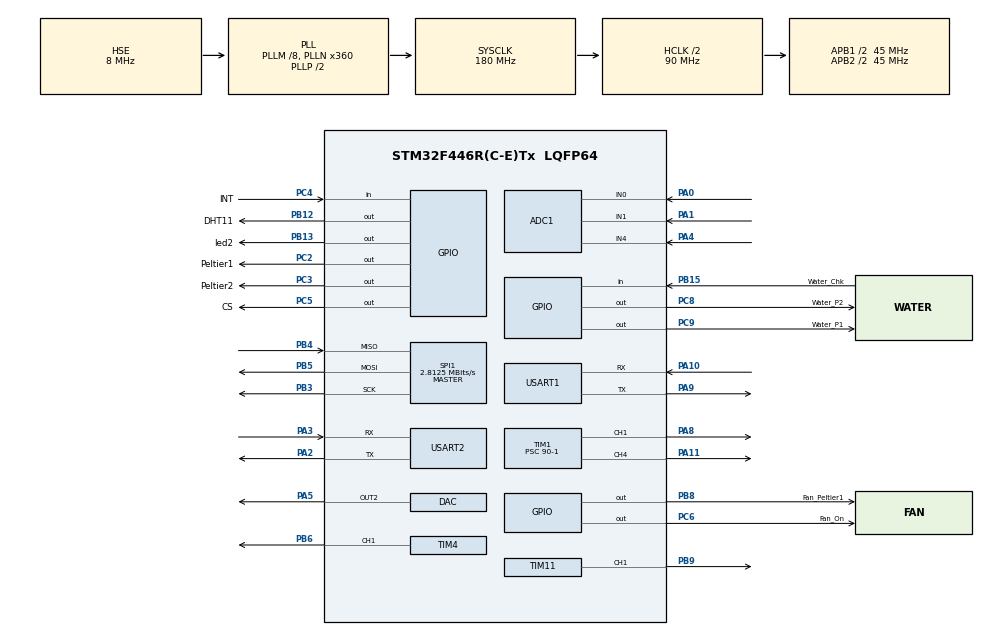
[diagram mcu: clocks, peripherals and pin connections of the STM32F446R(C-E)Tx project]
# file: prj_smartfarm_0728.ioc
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ADC1.Channel-10\#ChannelRegularConversion=ADC_CHANNEL_0
ADC1.ContinuousConvMode=DISABLE
ADC1.NbrOfConversion=1
ADC1.NbrOfConversionFlag=1
ADC1.Rank-10\#ChannelRegularConversion=1
ADC1.SamplingTime-10\#ChannelRegularConversion=ADC_SAMPLETIME_3CYCLES
ADC1.master=1
Mcu.Family=STM32F4
Mcu.Name=STM32F446R(C-E)Tx
Mcu.Package=LQFP64
NVIC.PriorityGroup=NVIC_PRIORITYGROUP_4
NVIC.TIM2_IRQn=true\:0\:0\:false\:true\:true\:1\:true\:true\:true
NVIC.TIM3_IRQn=true\:0\:0\:false\:false\:true\:true\:true\:true
NVIC.TIM5_IRQn=true\:0\:0\:false\:false\:true\:true\:true\:true
NVIC.TIM8_TRG_COM_TIM14_IRQn=true\:15\:0\:false\:false\:true\:false\:true\:true
NVIC.TimeBase=TIM8_TRG_COM_TIM14_IRQn
NVIC.TimeBaseIP=TIM14
PA0-WKUP.Signal=ADCx_IN0
PA1.Signal=ADCx_IN1
PA10.Mode=Asynchronous
PA10.Signal=USART1_RX
PA11.GPIO_Speed=GPIO_SPEED_FREQ_HIGH
PA11.Signal=S_TIM1_CH4
PA13.Mode=Serial_Wire
PA13.Signal=SYS_JTMS-SWDIO
PA14.Mode=Serial_Wire
PA14.Signal=SYS_JTCK-SWCLK
PA2.Mode=Asynchronous
PA2.Signal=USART2_TX
PA3.Mode=Asynchronous
PA3.Signal=USART2_RX
PA4.Signal=ADCx_IN4
PA5.Signal=COMP_DAC2_group
PA8.GPIO_Speed=GPIO_SPEED_FREQ_HIGH
PA8.Signal=S_TIM1_CH1
PA9.Mode=Asynchronous
PA9.Signal=USART1_TX
PB12.GPIO_Label=DHT11
PB12.GPIO_Speed=GPIO_SPEED_FREQ_VERY_HIGH
PB12.Signal=GPIO_Output
PB13.GPIO_Label=led2
PB13.GPIO_ModeDefaultOutputPP=GPIO_MODE_OUTPUT_PP
PB13.GPIO_PuPd=GPIO_NOPULL
PB13.GPIO_Speed=GPIO_SPEED_FREQ_MEDIUM
PB13.PinState=GPIO_PIN_RESET
PB13.Signal=GPIO_Output
PB15.GPIO_Label=Water_Chk
PB15.Signal=GPIO_Input
PB3.Mode=Full_Duplex_Master
PB3.Signal=SPI1_SCK
PB4.Mode=Full_Duplex_Master
PB4.Signal=SPI1_MISO
PB5.Mode=Full_Duplex_Master
PB5.Signal=SPI1_MOSI
PB6.Signal=S_TIM4_CH1
PB8.GPIO_Label=Fan_Peltier1
PB8.Signal=GPIO_Output
PB9.Signal=S_TIM11_CH1
PC14-OSC32_IN.Mode=LSE-External-Oscillator
PC14-OSC32_IN.Signal=RCC_OSC32_IN
PC15-OSC32_OUT.Mode=LSE-External-Oscillator
PC15-OSC32_OUT.Signal=RCC_OSC32_OUT
PC2.GPIO_Label=Peltier1
PC2.Signal=GPIO_Output
PC3.GPIO_Label=Peltier2
PC3.Signal=GPIO_Output
PC4.GPIO_Label=INT
PC4.Signal=GPIO_Input
PC5.GPIO_Label=CS
PC5.Signal=GPIO_Output
PC6.GPIO_Label=Fan_On
PC6.Signal=GPIO_Output
PC8.GPIO_Label=Water_P2
PC8.GPIO_Speed=GPIO_SPEED_FREQ_HIGH
PC8.Signal=GPIO_Output
PC9.GPIO_Label=Water_P1
PC9.GPIO_Speed=GPIO_SPEED_FREQ_HIGH
PC9.Signal=GPIO_Output
PH0-OSC_IN.Mode=HSE-External-Oscillator
PH0-OSC_IN.Signal=RCC_OSC_IN
PH1-OSC_OUT.Mode=HSE-External-Oscillator
PH1-OSC_OUT.Signal=RCC_OSC_OUT
ProjectManager.HeapSize=0x200
ProjectManager.StackSize=0x400
ProjectManager.TargetToolchain=STM32CubeIDE
RCC.AHBCLKDivider=RCC_SYSCLK_DIV2
RCC.AHBFreq_Value=90000000
RCC.APB1CLKDivider=RCC_HCLK_DIV2
RCC.APB1Freq_Value=45000000
RCC.APB1TimFreq_Value=90000000
RCC.APB2CLKDivider=RCC_HCLK_DIV2
RCC.APB2Freq_Value=45000000
RCC.APB2TimFreq_Value=90000000
RCC.CortexFreq_Value=90000000
RCC.HCLKFreq_Value=90000000
RCC.HSE_VALUE=8000000
RCC.PLLM=8
RCC.PLLN=360
RCC.PLLSourceVirtual=RCC_PLLSOURCE_HSE
RCC.SYSCLKFreq_VALUE=180000000
RCC.SYSCLKSource=RCC_SYSCLKSOURCE_PLLCLK
RCC.USBFreq_Value=180000000
RCC.VCOOutputFreq_Value=360000000
SH.ADCx_IN0.0=ADC1_IN0,IN0
SH.ADCx_IN1.0=ADC1_IN1,IN1
SH.ADCx_IN4.0=ADC1_IN4,IN4
SH.COMP_DAC2_group.0=DAC_OUT2,DAC_OUT2
SH.S_TIM11_CH1.0=TIM11_CH1,PWM Generation1 CH1
SH.S_TIM1_CH1.0=TIM1_CH1,PWM Generation1 CH1
SH.S_TIM1_CH4.0=TIM1_CH4,PWM Generation4 CH4
SH.S_TIM4_CH1.0=TIM4_CH1,PWM Generation1 CH1
SPI1.BaudRatePrescaler=SPI_BAUDRATEPRESCALER_16
SPI1.CalculateBaudRate=2.8125 MBits/s
SPI1.Direction=SPI_DIRECTION_2LINES
SPI1.Mode=SPI_MODE_MASTER
SPI1.VirtualType=VM_MASTER
TIM1.Channel-PWM\ Generation1\ CH1=TIM_CHANNEL_1
TIM1.Channel-PWM\ Generation4\ CH4=TIM_CHANNEL_4
TIM1.Period=60000-1
TIM1.Prescaler=90-1
TIM11.Channel=TIM_CHANNEL_1
TIM11.Period=4096-1
TIM11.Prescaler=9-1
TIM2.AutoReloadPreload=TIM_AUTORELOAD_PRELOAD_ENABLE
TIM2.Period=1000-1
TIM2.Prescaler=9000-1
TIM3.Period=60000-1
TIM3.Prescaler=45000-1
TIM4.Channel-PWM\ Generation1\ CH1=TIM_CHANNEL_1
TIM4.Period=4000-1
TIM4.Prescaler=90-1
TIM5.Period=1000-1
TIM5.Prescaler=9000-1
TIM6.Period=65535-1
TIM6.Prescaler=90-1
USART1.VirtualMode=VM_ASYNC
USART2.VirtualMode=VM_ASYNC
VP_SYS_VS_tim14.Mode=TIM14
VP_TIM11_VS_ClockSourceINT.Mode=Enable_Timer
VP_TIM1_VS_ClockSourceINT.Mode=Internal
VP_TIM2_VS_ClockSourceINT.Mode=Internal
VP_TIM3_VS_ClockSourceINT.Mode=Internal
VP_TIM4_VS_ClockSourceINT.Mode=Internal
VP_TIM5_VS_ClockSourceINT.Mode=Internal
VP_TIM6_VS_ClockSourceINT.Mode=Enable_Timer
board=custom

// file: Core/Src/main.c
/* USER CODE BEGIN Header */
/**
  ******************************************************************************
  * @file           : main.c
  * @brief          : Main program body
  ******************************************************************************
  * @attention
  *
  * Copyright (c) 2025 STMicroelectronics.
  * All rights reserved.
  *
  * This software is licensed under terms that can be found in the LICENSE file
  * in the root directory of this software component.
  * If no LICENSE file comes with this software, it is provided AS-IS.
  *
  ******************************************************************************
  */
/* USER CODE END Header */
#include "main.h"
#include "adc.h"
#include "dac.h"
#include "spi.h"
#include "tim.h"
#include "usart.h"
#include "gpio.h"

/* USER CODE BEGIN Includes */
#include <stdio.h>
#include <stdlib.h>
#include <string.h>

#include "MCP2515.h"
#include "CANSPI.h"

#define printf_en 1
#define USART_Ch_1_EN	3
#define Console_Ch2   2
#define dht11_en 3
#define Ch1	1
#define cds_en	2
#define co2_en	3
#define w_height_en	4
#define servo_en 5
#define water_pump_en 	6
#define fan_en 6
#define light_en 6
#define pelt_en 6
#include "my_library.h"

#define Out_Bit(port, pin, out_data_bits) HAL_GPIO_WritePin(port, pin, out_data_bits)
#define MAX_VALUES 4
#define MAX_STR_LEN 20

float temp=0.0;
float humi=0.0;
int16_t temp_x10=0;
int16_t humi_x10=0;

/* USER CODE END Includes */

/* USER CODE BEGIN PTD */
char Test_Msg[16];
char pass_sig[] = "Pass\r\n";
char msg_to_Rpi[30];
char Cmd_Msg[80];
extern int Cmd_values[4];
char message[16];
uCAN_MSG rxMessage;
uint8_t Sensor_flag = 0;
uint8_t act_flag =0;

struct flags{
	uint8_t water_sensor_flag;
	uint8_t timer1;
	uint8_t timer2;
}FLAGS = {0,0,0};
struct flags *flag = &FLAGS;

struct Sensor_Value{
	  float TEMP;		// 온도
	  float RH;			// 습도
	  float lux ;				// 밝기
	  float co2 ;				// c02 ppm
	  float w_1;		// 둘 중 하나
}sen_val = {0.0, 0.0, 0.0, 0.0, 0.0};
struct Sensor_Value *sen_v = &sen_val;

uint8_t water_sensor_flag= 0;
uint16_t cnt = 0;
extern ADC_HandleTypeDef hadc1;
int timer1 = 0 , timer2 = 0;
uint16_t adc_value = 0;
void HAL_TIM_MspPostInit(TIM_HandleTypeDef *htim);

void can_mcp2515_init(void)
{
    if(!MCP2515_Initialize()) {
        printf("MCP2515 SPI initialize error!\r\n");
        Error_Handler();
    }
    if(!MCP2515_SetConfigMode()) {

        printf("Config error!\r\n");
        Error_Handler();
    }
    // 💡 비트레이트 설정 필요
    // 예: MCP2515_SetBitrate(500000);  // 드라이버에 따라 함수명 다를 수 있음

    if(!MCP2515_SetNormalMode()) {
        printf("Normal set fail!\r\n");
        Error_Handler();
    }
    printf("MCP2515 success\r\n");
}

/* USER CODE END PTD */

void SystemClock_Config(void);
static void MX_NVIC_Init(void);

int main(void)
{

  /* MCU Configuration--------------------------------------------------------*/

  /* Reset of all peripherals, Initializes the Flash interface and the Systick. */
  HAL_Init();

  /* Configure the system clock */
  SystemClock_Config();

  /* Initialize all configured peripherals */
  MX_GPIO_Init();
  MX_TIM6_Init();
  MX_USART1_UART_Init();
  MX_USART2_UART_Init();
  MX_ADC1_Init();
  MX_TIM1_Init();
  MX_TIM2_Init();
  MX_TIM3_Init();
  MX_TIM4_Init();
  MX_TIM5_Init();
  MX_DAC_Init();
  MX_TIM11_Init();
  MX_SPI1_Init();

  /* Initialize interrupts */
  MX_NVIC_Init();
  /* USER CODE BEGIN 2 */
  HAL_TIM_Base_Start(&htim6);
  HAL_TIM_Base_Start(&htim1);
  HAL_ADC_Start(&hadc1);
  HAL_ADC_PollForConversion(&hadc1, HAL_MAX_DELAY);
  //HAL_TIM_PWM_Start(&htim1, TIM_CHANNEL_3);

  HAL_TIM_Base_Start_IT(&htim2);
  HAL_TIM_Base_Start_IT(&htim3);
  HAL_TIM_Base_Start_IT(&htim5);

  HAL_TIM_PWM_Start(&htim4, TIM_CHANNEL_1);
  HAL_TIM_PWM_Start(&htim11, TIM_CHANNEL_1);
  fan_off();
  Water_P1_Stop();
  Water_P2_Stop();
  //can_mcp2515_init();
  //CANSPI_Initialize();

  /* USER CODE END 2 */

  /* Infinite loop */
  /* USER CODE BEGIN WHILE */
  while (1)
  {

	  //센서 받을 준비 되었냐
	  if( Sensor_flag == 0)
	  {

		  printf("Waiting Rpi Test Mode Msg\r\n");
		  // 데이터 받았냐
//		  if(CANSPI_Receive(&rxMessage)) {
//
//		 				temp_x10 = (rxMessage.frame.data0 << 8) | rxMessage.frame.data1;
//		 				humi_x10 = (rxMessage.frame.data2 << 8) | rxMessage.frame.data3;
//		 				temp = temp_x10 / 10.0;
//		 				humi = humi_x10 / 10.0;
//
//		 				printf("ID=0x%03X, 온도=%.1f, 습도=%.1f \r\n", rxMessage.frame.id, temp, humi);
//		 			}
		  if(HAL_UART_Receive(&huart1, (uint8_t *)Test_Msg, 16, 1000)== HAL_OK)
		  {

			  printf("pass1\r\n");
			  Test_Msg[15] = '\0'; // 강제로 문자열 종료
			  printf("Received data = %s\r\n", Test_Msg);

//			  if(CANSPI_Receive(&rxMessage)) {
//
//				temp_x10 = (rxMessage.frame.data0 << 8) | rxMessage.frame.data1;
//				humi_x10 = (rxMessage.frame.data2 << 8) | rxMessage.frame.data3;
//				temp = temp_x10 / 10.0;
//				humi = humi_x10 / 10.0;
//
//				//printf("ID=0x%03X, 온도=%.1f, 습도=%.1f \r\n", rxMessage.frame.id, t, h);
//			}

			  float TEMP1 = DHT11_Run_TEMP();		// 온도
			  float RH1 = DHT11_Run_RH();			// 습도
			  float lux1 = read_light();
			  printf("TEMP : %.1f RH : %.1f lux : %.1f\r\n", TEMP1, RH1, lux1);
			  //받은 데이터가 이거냐?
			  if (strcmp(Test_Msg, "\nSTM32 Test Mod") == 0)
			  {
				  printf("pass2\r\n");
				  if(DHT11_Sensor_Test()&&check_light())
				  {
					  Sensor_flag = 1;
					  printf("Sensor Check Complete\r\n");
					  HAL_UART_Transmit(&huart1, (uint8_t*)pass_sig, strlen(pass_sig), 10);

				  }
			  }
		  }
	  }
	  else
	  {
		  //물 순환 시작
		  //인터럽트로 1분마다 읽게 만들거
		  float TEMP = DHT11_Run_TEMP();		// 온도
		  float RH = DHT11_Run_RH();			// 습도
//		  if(CANSPI_Receive(&rxMessage)) {
//
//			temp_x10 = (rxMessage.frame.data0 << 8) | rxMessage.frame.data1;
//			humi_x10 = (rxMessage.frame.data2 << 8) | rxMessage.frame.data3;
//			temp = temp_x10 / 10.0;
//			humi = humi_x10 / 10.0;
//
//			printf("ID=0x%03X, 온도=%.1f, 습도=%.1f \r\n", rxMessage.frame.id, temp, humi);
//		}
		  float lux = read_light_lux();				// 전압값(0~4096)
		  float co2 = read_co2();				// c02 ppm
	  	  float w_1 = isWaterDetected1();		// 둘 중 하나 -> 타이머 인터럽트
	  	  act_flag = 0;

		  printf("TEMP : %.1f RH : %.1f co2 : %.1f lux : %.1f water : %.1f\r\n", TEMP, RH, co2, lux,w_1);
		  cnt++;

		  if(TEMP && cnt == 3){
			  // co2,w_height level 반환 대신 그냥 adc값 반환하도록 변경해야됨
			  // 둘 중 하나 사용
			  cnt = 0;
			  sprintf(msg_to_Rpi, "%.1f,%.1f,%.1f,%.1f,%.1f\r\n", TEMP, RH, co2, lux, w_1);
			  printf("%s", msg_to_Rpi);
			  HAL_UART_Transmit(&huart1, (char*)msg_to_Rpi, strlen(msg_to_Rpi), 100);
			  HAL_Delay(10);

		  }
		  	  // 제어 신호 받으면?????
		  if(HAL_UART_Receive(&huart1, (uint8_t *)Cmd_Msg, 8, 1000)== HAL_OK)
		  {
			  //제어 명령어 -  팬+팰티어, led. 팬, 모터 센서(급수)
			  printf("Received data\r\n");
			  Cmd_Msg[8] = '\0';
			  printf("Cmd_Msg = %s",Cmd_Msg); // 강제로 문자열 종료
			  parse_fixed_csv(Cmd_Msg);
			  for (int i = 0; i < 4; i++)
			  {
				  printf("Cmd_values[%d] = %d\r\n", i, Cmd_values[i]);  // 문제 잡기 물 센서 위치에 따라
			  }
	  	  	  process_commands(Cmd_values);

		  }
		  else{
			  printf("Receive stage pass\r\n");
		  }
		  HAL_Delay(1000);		//1분
	  }
	  HAL_Delay(5000);			//5초
  }

    /* USER CODE END WHILE */

}

void SystemClock_Config(void)
{
  RCC_OscInitTypeDef RCC_OscInitStruct = {0};
  RCC_ClkInitTypeDef RCC_ClkInitStruct = {0};

  /** Configure the main internal regulator output voltage
  */
  __HAL_RCC_PWR_CLK_ENABLE();
  __HAL_PWR_VOLTAGESCALING_CONFIG(PWR_REGULATOR_VOLTAGE_SCALE3);

  /** Initializes the RCC Oscillators according to the specified parameters
  * in the RCC_OscInitTypeDef structure.
  */
  RCC_OscInitStruct.OscillatorType = RCC_OSCILLATORTYPE_HSE;
  RCC_OscInitStruct.HSEState = RCC_HSE_ON;
  RCC_OscInitStruct.PLL.PLLState = RCC_PLL_ON;
  RCC_OscInitStruct.PLL.PLLSource = RCC_PLLSOURCE_HSE;
  RCC_OscInitStruct.PLL.PLLM = 8;
  RCC_OscInitStruct.PLL.PLLN = 360;
  RCC_OscInitStruct.PLL.PLLP = RCC_PLLP_DIV2;
  RCC_OscInitStruct.PLL.PLLQ = 2;
  RCC_OscInitStruct.PLL.PLLR = 2;
  if (HAL_RCC_OscConfig(&RCC_OscInitStruct) != HAL_OK)
  {
    Error_Handler();
  }

  /** Initializes the CPU, AHB and APB buses clocks
  */
  RCC_ClkInitStruct.ClockType = RCC_CLOCKTYPE_HCLK|RCC_CLOCKTYPE_SYSCLK
                              |RCC_CLOCKTYPE_PCLK1|RCC_CLOCKTYPE_PCLK2;
  RCC_ClkInitStruct.SYSCLKSource = RCC_SYSCLKSOURCE_PLLCLK;
  RCC_ClkInitStruct.AHBCLKDivider = RCC_SYSCLK_DIV2;
  RCC_ClkInitStruct.APB1CLKDivider = RCC_HCLK_DIV2;
  RCC_ClkInitStruct.APB2CLKDivider = RCC_HCLK_DIV2;

  if (HAL_RCC_ClockConfig(&RCC_ClkInitStruct, FLASH_LATENCY_2) != HAL_OK)
  {
    Error_Handler();
  }
}

/**
  * @brief NVIC Configuration.
  * @retval None
  */
static void MX_NVIC_Init(void)
{
  /* TIM2_IRQn interrupt configuration */
  HAL_NVIC_SetPriority(TIM2_IRQn, 0, 0);
  HAL_NVIC_EnableIRQ(TIM2_IRQn);
}

void HAL_TIM_PeriodElapsedCallback(TIM_HandleTypeDef *htim)
{
  /* USER CODE BEGIN Callback 0 */

	if (htim->Instance == TIM2)
	{//	0.1s	급수
		if(Sensor_flag == 1)
		{
			float light = read_light();
			light_on((uint16_t)light);
			float w_2 = isWaterDetected1();
			if(w_2 == 0.0){
				Water_P1_Start(); //급수

			}else{
				Water_P1_Stop();
			}

		}
	}
	if (htim->Instance == TIM3)
	{// 60s
		if(Sensor_flag == 1)
		{
			(flag->timer1)+=1;

			printf("%.1f min pass\r\n", (flag->timer1)/2.0);
			if(flag->timer1 == 120){	//1시간마다

				flag->timer1 = 0;
				flag->water_sensor_flag = 1;
				printf("Water drainage\r\n");
			}else{
				flag->water_sensor_flag = 0;
				printf("Water drainage stop\r\n");
			}
		}
	}
	if (htim->Instance == TIM5)
	{	// 10s

		if(Sensor_flag == 1){

			if(flag->water_sensor_flag == 1){
				Water_P2_Start();

			}else{
				Water_P2_Stop();

			}
		}
	}

  /* USER CODE END Callback 0 */
  if (htim->Instance == TIM14)
  {
    HAL_IncTick();
  }
}

void Error_Handler(void)
{
  __disable_irq();
  while (1)
  {
  }
}
